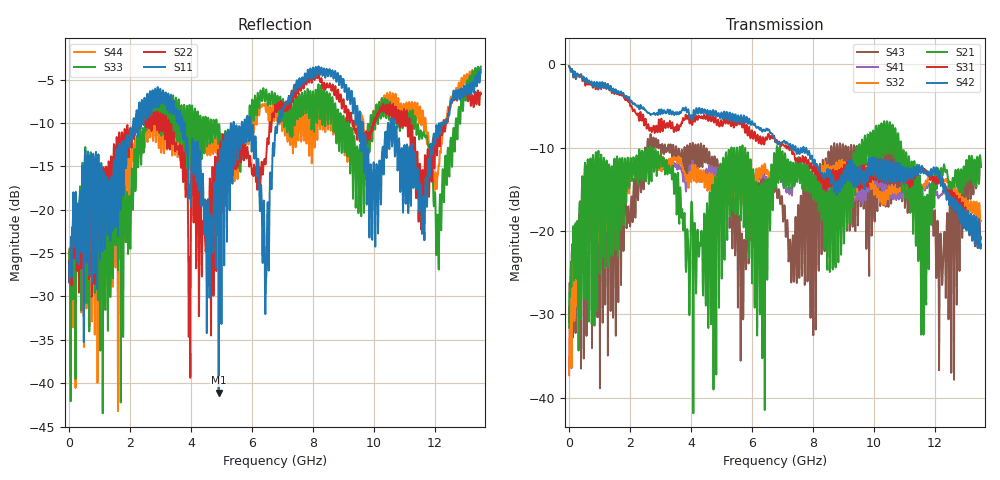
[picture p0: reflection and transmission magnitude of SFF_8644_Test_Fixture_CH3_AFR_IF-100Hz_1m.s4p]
!Keysight Technologies,N5231B,MY57181281,A.17.25.05
!Date: Friday, March 07, 2025 16:33:35
!Correction: S11(C  4-Port  )
!S12(C  4-Port  )
!S13(C  4-Port  )
!S14(C  4-Port  )
!S21(C  4-Port  )
!S22(C  4-Port  )
!S23(C  4-Port  )
!S24(C  4-Port  )
!S31(C  4-Port  )
!S32(C  4-Port  )
!S33(C  4-Port  )
!S34(C  4-Port  )
!S41(C  4-Port  )
!S42(C  4-Port  )
!S43(C  4-Port  )
!S44(C  4-Port  )
!S4P File: Measurements: <S11,S12,S13,S14>,
!<S21,S22,S23,S24>,
!<S31,S32,S33,S34>,
!<S41,S42,S43,S44>:
# Hz S  dB  R 50
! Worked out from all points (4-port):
!   1350 points, 10 MHz to 13.5 GHz, reference 50 ohm
!   strongest paths, dB at 10 MHz, 3.38 GHz, 6.76 GHz, 10.13 GHz, 13.5 GHz:
!     S42: -0.2, -5.8, -9.1, -12.5, -21.6
!     S31: -0.2, -7.0, -9.3, -12.1, -21.8
!     S21: -31.6, -13.8, -13.6, -9.0, -12.3
!     S32: -37.3, -11.6, -13.1, -14.9, -18.8
!     S41: -37.3, -12.5, -14.4, -13.4, -20.7
!     S43: -30.9, -11.0, -15.0, -10.9, -12.3
!   lowest |S11| = -41.1 dB at 4.91 GHz (marker M1), VSWR 1.02, Z = 49.1 - j0.000884 ohm
!   |S11| at or under -10 dB: start of sweep to 2.107 GHz; 3.792 GHz to 5.396 GHz (1.604 GHz wide, 34.9 % of centre); 10.65 GHz to 12.2 GHz (1.553 GHz wide, 13.6 % of centre)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
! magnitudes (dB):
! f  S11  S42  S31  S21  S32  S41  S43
! 10 MHz  -28.4  -0.2  -0.2  -31.6  -37.3  -37.3  -30.9
! 2.79 GHz  -8.2  -5.8  -7.5  -12.9  -11.6  -11.7  -9.4
! 3.95 GHz  -17.1  -6.3  -7.0  -30.1  -13.1  -12.6  -10.4
! 4.91 GHz  -41.1  -5.8  -7.0  -22.0  -15.2  -13.4  -13.3
! 11.22 GHz  -16.9  -12.8  -13.8  -12.3  -14.1  -14.1  -14.0
! 12.08 GHz  -11.5  -13.0  -13.6  -13.3  -13.7  -15.6  -18.8
! 13.5 GHz  -3.8  -21.6  -21.8  -12.3  -18.8  -20.7  -12.3
